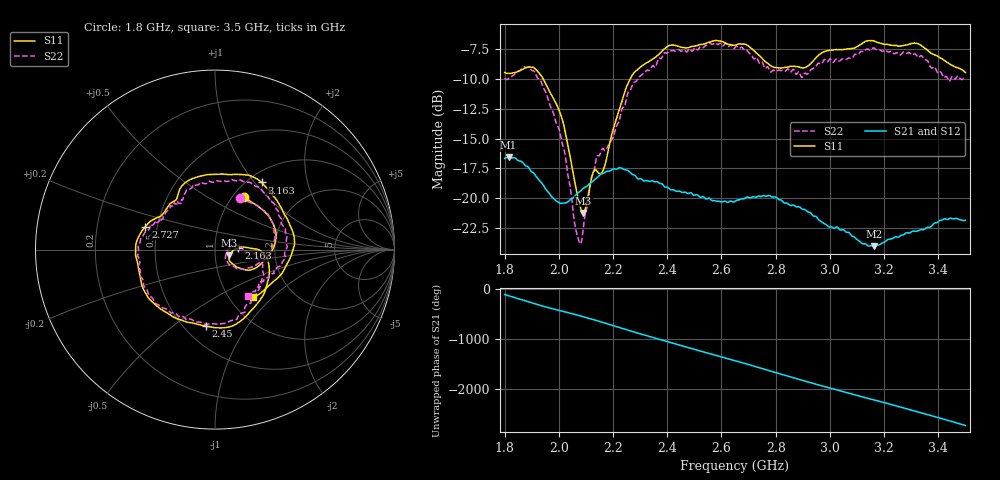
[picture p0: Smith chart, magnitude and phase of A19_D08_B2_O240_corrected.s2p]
! Created with skrf 1.9.0 (http://scikit-rf.org).
# Hz S RI R 50.0
!freq ReS11 ImS11 ReS21 ImS21 ReS12 ImS12 ReS22 ImS22
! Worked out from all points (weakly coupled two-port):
!   1601 points, 1.8 GHz to 3.5 GHz, reference 50 ohm
!   highest |S21| = -16.59 dB at 1.815 GHz (marker M1); lowest = -24.0 dB at 3.162 GHz (marker M2)
!   lowest |S11| = -21.2 dB at 2.09 GHz (marker M3), VSWR 1.19, Z = 58.6 - j3.82 ohm
!   |S11| at or under -10 dB: 1.942 GHz to 2.263 GHz (320.9 MHz wide, 15.3 % of centre)
!   |S22| runs from -23.8 to -7.0 dB; largest |S21 - S12| = 0.003
!   S11 on the Smith chart (normalised r, x): 1.8 GHz: 1.13, +0.75; 2.163 GHz: 1.30, +0.02; 2.45 GHz: 0.63, -0.66; 2.727 GHz: 0.43, +0.13; 3.163 GHz: 1.15, +1.09; 3.5 GHz: 1.28, -0.76
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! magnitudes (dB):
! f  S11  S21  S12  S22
! 1.8 GHz  -9.5  -16.7  -16.7  -9.9
! 1.815 GHz  -9.5  -16.6  -16.6  -10.0
! 1.886 GHz  -9.0  -17.4  -17.4  -9.0
! 1.939 GHz  -9.9  -18.8  -18.8  -10.5
! 2.011 GHz  -13.3  -20.4  -20.4  -15.3
! 2.063 GHz  -19.2  -19.7  -19.7  -22.7
! 2.084 GHz  -21.1  -19.3  -19.3  -23.6
! 2.09 GHz  -21.2  -19.2  -19.2  -22.5
! 2.128 GHz  -17.7  -18.5  -18.5  -17.9
! 2.163 GHz  -17.7  -17.9  -17.8  -15.8
! 2.26 GHz  -10.1  -17.8  -17.8  -11.0
! 2.367 GHz  -8.0  -18.7  -18.6  -8.3
! 2.45 GHz  -7.3  -19.5  -19.5  -7.7
! 2.65 GHz  -7.2  -20.3  -20.3  -7.4
! 2.727 GHz  -7.8  -19.9  -19.9  -8.2
! 2.799 GHz  -9.0  -19.9  -19.9  -9.4
! 2.934 GHz  -8.6  -21.4  -21.4  -9.2
! 3.162 GHz  -6.8  -24.0  -24.0  -7.4
! 3.163 GHz  -6.8  -24.0  -24.0  -7.4
! 3.217 GHz  -7.1  -23.4  -23.4  -7.8
! 3.325 GHz  -7.0  -22.7  -22.7  -8.2
! 3.5 GHz  -9.5  -21.9  -21.8  -10.0
